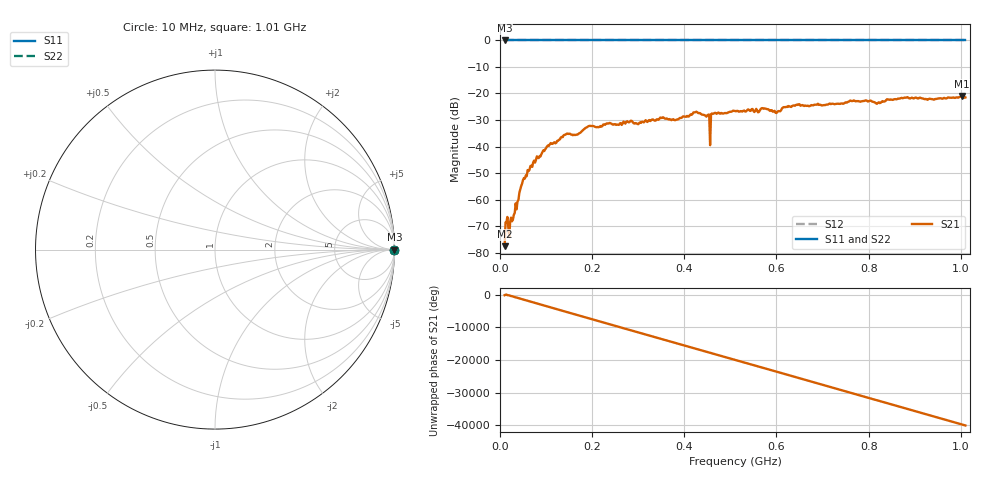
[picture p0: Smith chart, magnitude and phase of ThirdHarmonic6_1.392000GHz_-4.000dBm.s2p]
! 8/16/2025 3:52:01 PM
! C:\ANRITSUVNA\TEMP\TEMP.S2P
! CHANNEL.1
! TR.MEASUREMENT
! RAW.DATA
! RF.CORRECTION.OFF
! AVERAGING.OFF
! IF.BANDWIDTH: 5KHZ
! SWEEPTYPE:  FREQ.SWEEP(Linear)
! Reference Plane Port Info
! PORT:  PORT1  PORT2
! DISTANCE:  0  m  0  m
! TIME:  0  s  0  s
! PHASE.OFFSET:  0  deg.  0  deg.
! LOSS:  0  dB  0  dB
! REF.LOSS:  0  dB  0  dB
! REF.FREQ:  0  Hz  0  Hz
! Power Info
! POWER:  -20  dBm  -20  dBm
! EFF.POWER:  -20  dBm  -20  dBm
! SOURCE.ATTEN:  0  dB  0  dB
! TEST.ATTEN:  0  dB  0  dB
# GHZ S RI R 50.0
! FREQ.GHZ  S11RE  S11IM  S21RE  S21IM  S12RE  S12IM  S22RE  S22IM
!; PortSelection: Port_12
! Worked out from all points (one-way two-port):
!   501 points, 10 MHz to 1.01 GHz, reference 50 ohm
!   highest |S21| = -20.97 dB at 1.002 GHz (marker M1); lowest = -77.6 dB at 10 MHz (marker M2)
!   lowest |S11| = 0.0 dB at 10 MHz (marker M3)
!   |S11| at or under -10 dB: nowhere
!   |S22| runs from 0.0 to 0.0 dB; largest |S21 - S12| = 1.1
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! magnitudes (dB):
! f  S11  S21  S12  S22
! 10 MHz  0.0  -77.6  0.0  0.0
! 14 MHz  0.0  -68.6  0.0  0.0
! 24 MHz  0.0  -66.8  0.0  0.0
! 48 MHz  0.0  -54.0  0.0  0.0
! 76 MHz  0.0  -46.1  0.0  0.0
! 106 MHz  0.0  -39.8  0.0  0.0
! 142 MHz  0.0  -35.6  0.0  0.0
! 178 MHz  0.0  -34.1  0.0  0.0
! 196 MHz  0.0  -32.2  0.0  0.0
! 344 MHz  0.0  -29.9  0.0  0.0
! 382 MHz  0.0  -29.9  0.0  0.0
! 424 MHz  0.0  -27.1  0.0  0.0
! 450 MHz  0.0  -28.2  0.0  0.0
! 452 MHz  0.0  -28.0  0.0  0.0
! 460 MHz  0.0  -27.6  0.0  0.0
! 462 MHz  0.0  -27.7  0.0  0.0
! 510 MHz  0.0  -26.6  0.0  0.0
! 602 MHz  0.0  -27.0  0.0  0.0
! 678 MHz  0.0  -24.5  0.0  0.0
! 844 MHz  0.0  -22.3  0.0  0.0
! 1.002 GHz  0.0  -21.0  0.0  0.0
! 1.01 GHz  0.0  -21.5  0.0  0.0
